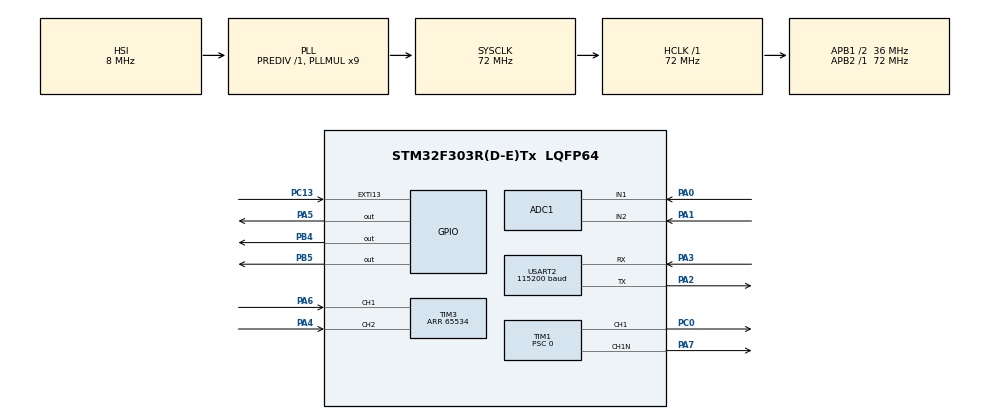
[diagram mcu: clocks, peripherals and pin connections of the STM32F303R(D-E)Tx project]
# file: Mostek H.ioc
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ADC1.Channel-2\#ChannelRegularConversion=ADC_CHANNEL_1
ADC1.Channel-3\#ChannelRegularConversion=ADC_CHANNEL_2
ADC1.ContinuousConvMode=DISABLE
ADC1.DMAContinuousRequests=ENABLE
ADC1.DiscontinuousConvMode=DISABLE
ADC1.EOCSelection=ADC_EOC_SEQ_CONV
ADC1.EnableInjectedConversion=DISABLE
ADC1.ExternalTrigConv=ADC_EXTERNALTRIGCONV_T4_TRGO
ADC1.NbrOfConversion=2
ADC1.NbrOfConversionFlag=1
ADC1.Offset-2\#ChannelRegularConversion=0
ADC1.Offset-3\#ChannelRegularConversion=0
ADC1.OffsetNumber-2\#ChannelRegularConversion=ADC_OFFSET_NONE
ADC1.OffsetNumber-3\#ChannelRegularConversion=ADC_OFFSET_NONE
ADC1.Rank-2\#ChannelRegularConversion=1
ADC1.Rank-3\#ChannelRegularConversion=2
ADC1.SamplingTime-2\#ChannelRegularConversion=ADC_SAMPLETIME_61CYCLES_5
ADC1.SamplingTime-3\#ChannelRegularConversion=ADC_SAMPLETIME_61CYCLES_5
ADC1.master=1
Dma.ADC1.0.Direction=DMA_PERIPH_TO_MEMORY
Dma.ADC1.0.Instance=DMA1_Channel1
Dma.ADC1.0.MemDataAlignment=DMA_MDATAALIGN_WORD
Dma.ADC1.0.MemInc=DMA_MINC_ENABLE
Dma.ADC1.0.Mode=DMA_CIRCULAR
Dma.ADC1.0.PeriphDataAlignment=DMA_PDATAALIGN_WORD
Dma.ADC1.0.PeriphInc=DMA_PINC_DISABLE
Dma.ADC1.0.Priority=DMA_PRIORITY_MEDIUM
Dma.Request0=ADC1
Dma.Request1=USART2_TX
Dma.USART2_TX.1.Direction=DMA_MEMORY_TO_PERIPH
Dma.USART2_TX.1.Instance=DMA1_Channel7
Dma.USART2_TX.1.MemDataAlignment=DMA_MDATAALIGN_BYTE
Dma.USART2_TX.1.MemInc=DMA_MINC_ENABLE
Dma.USART2_TX.1.Mode=DMA_NORMAL
Dma.USART2_TX.1.PeriphDataAlignment=DMA_PDATAALIGN_BYTE
Dma.USART2_TX.1.PeriphInc=DMA_PINC_DISABLE
Dma.USART2_TX.1.Priority=DMA_PRIORITY_LOW
FREERTOS.Tasks01=defaultTask,24,128,StartDefaultTask,Default,NULL,Dynamic,NULL,NULL;PIDTask,55,128,PidRunner_Entry,Default,NULL,Dynamic,NULL,NULL
FREERTOS.configTOTAL_HEAP_SIZE=4096
Mcu.Family=STM32F3
Mcu.Name=STM32F303R(D-E)Tx
Mcu.Package=LQFP64
NVIC.ADC1_2_IRQn=true\:5\:0\:true\:false\:true\:true\:true\:true
NVIC.DMA1_Channel1_IRQn=true\:5\:0\:false\:false\:true\:true\:false\:true
NVIC.DMA1_Channel7_IRQn=true\:5\:0\:false\:false\:true\:true\:false\:true
NVIC.EXTI15_10_IRQn=true\:6\:0\:true\:false\:true\:true\:true\:true
NVIC.PriorityGroup=NVIC_PRIORITYGROUP_4
NVIC.TIM1_TRG_COM_TIM17_IRQn=true\:0\:0\:false\:false\:true\:false\:false\:true
NVIC.TimeBase=TIM1_TRG_COM_TIM17_IRQn
NVIC.TimeBaseIP=TIM17
PA0.Mode=IN1-Single-Ended
PA0.Signal=ADC1_IN1
PA1.Mode=IN2-Single-Ended
PA1.Signal=ADC1_IN2
PA13.Mode=Trace_Asynchronous_SW
PA13.Signal=SYS_JTMS-SWDIO
PA14.Mode=Trace_Asynchronous_SW
PA14.Signal=SYS_JTCK-SWCLK
PA2.Mode=Asynchronous
PA2.Signal=USART2_TX
PA3.Mode=Asynchronous
PA3.Signal=USART2_RX
PA4.Signal=S_TIM3_CH2
PA5.PinState=GPIO_PIN_SET
PA5.Signal=GPIO_Output
PA6.Signal=S_TIM3_CH1
PA7.Mode=PWM Generation1 CH1 CH1N
PA7.Signal=TIM1_CH1N
PB3.Mode=Trace_Asynchronous_SW
PB3.Signal=SYS_JTDO-TRACESWO
PB4.Signal=GPIO_Output
PB5.Signal=GPIO_Output
PC0.Signal=S_TIM1_CH1
PC13.Signal=GPXTI13
PC14-OSC32_IN.Mode=LSE-External-Oscillator
PC14-OSC32_IN.Signal=RCC_OSC32_IN
PC15-OSC32_OUT.Mode=LSE-External-Oscillator
PC15-OSC32_OUT.Signal=RCC_OSC32_OUT
PF0-OSC_IN.Mode=HSE-External-Clock-Source
PF0-OSC_IN.Signal=RCC_OSC_IN
PF1-OSC_OUT.Signal=RCC_OSC_OUT
ProjectManager.HeapSize=0x200
ProjectManager.StackSize=0x400
ProjectManager.TargetToolchain=STM32CubeIDE
RCC.ADC12PRES=RCC_ADC12PLLCLK_DIV2
RCC.AHBFreq_Value=72000000
RCC.APB1CLKDivider=RCC_HCLK_DIV2
RCC.APB1Freq_Value=36000000
RCC.APB1TimFreq_Value=72000000
RCC.APB2Freq_Value=72000000
RCC.APB2TimFreq_Value=72000000
RCC.CortexFreq_Value=72000000
RCC.HCLKFreq_Value=72000000
RCC.HSE_VALUE=8000000
RCC.HSI_VALUE=8000000
RCC.PLLMUL=RCC_PLL_MUL9
RCC.RTCClockSelection=RCC_RTCCLKSOURCE_LSE
RCC.SYSCLKFreq_VALUE=72000000
RCC.SYSCLKSourceVirtual=RCC_SYSCLKSOURCE_PLLCLK
RCC.TIM1Selection=RCC_TIM1CLK_PLLCLK
RCC.TIM34Selection=RCC_TIM34CLK_PLLCLK
RCC.USBFreq_Value=72000000
SH.S_TIM1_CH1.0=TIM1_CH1,PWM Generation1 CH1 CH1N
SH.S_TIM3_CH1.0=TIM3_CH1,Encoder_Interface
SH.S_TIM3_CH2.0=TIM3_CH2,Encoder_Interface
TIM1.Channel-PWM\ Generation1\ CH1\ CH1N=TIM_CHANNEL_1
TIM1.CounterMode=TIM_COUNTERMODE_UP
TIM1.DeadTime=50
TIM1.OCNPolarity_1=TIM_OCNPOLARITY_HIGH
TIM1.OCPolarity_1=TIM_OCPOLARITY_HIGH
TIM1.Period=14399
TIM1.Prescaler=0
TIM1.TIM_MasterOutputTrigger=TIM_TRGO_UPDATE
TIM3.EncoderMode=TIM_ENCODERMODE_TI12
TIM3.Period=65534
TIM4.Period=1799
TIM4.TIM_MasterOutputTrigger=TIM_TRGO_UPDATE
TIM4.TIM_MasterSlaveMode=TIM_MASTERSLAVEMODE_ENABLE
USART2.BaudRate=115200
USART2.VirtualMode-Asynchronous=VM_ASYNC
VP_FREERTOS_VS_CMSIS_V2.Mode=CMSIS_V2
VP_SYS_VS_tim17.Mode=TIM17
VP_TIM4_VS_ClockSourceITR.Mode=TriggerSource_ITR0
VP_TIM4_VS_ControllerModeTrigger.Mode=Trigger Mode
board=NUCLEO-F303RE

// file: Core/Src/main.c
/* USER CODE BEGIN Header */
/**
  ******************************************************************************
  * @file           : main.c
  * @brief          : Main program body
  ******************************************************************************
  * @attention
  *
  * <h2><center>&copy; Copyright (c) 2019 STMicroelectronics.
  * All rights reserved.</center></h2>
  *
  * This software component is licensed by ST under BSD 3-Clause license,
  * the "License"; You may not use this file except in compliance with the
  * License. You may obtain a copy of the License at:
  *                        opensource.org/licenses/BSD-3-Clause
  *
  ******************************************************************************
  */
/* USER CODE END Header */
#include "main.h"
#include "cmsis_os.h"

/* USER CODE BEGIN Includes */
#include "arm_math.h"
#include "stdio.h"
#include "stdlib.h"
#include "string.h"
#include "pid.h"
/* USER CODE END Includes */

/* USER CODE BEGIN PD */
#define N 8
#define MAX_SPEED 420.0
#define RAMP_STEP 0.002
/* USER CODE END PD */

ADC_HandleTypeDef hadc1;
DMA_HandleTypeDef hdma_adc1;

TIM_HandleTypeDef htim1;
TIM_HandleTypeDef htim3;
TIM_HandleTypeDef htim4;

UART_HandleTypeDef huart2;
DMA_HandleTypeDef hdma_usart2_tx;

/* Definitions for defaultTask */
osThreadId_t defaultTaskHandle;
const osThreadAttr_t defaultTask_attributes = {
  .name = "defaultTask",
  .priority = (osPriority_t) osPriorityNormal,
  .stack_size = 128 * 4
};
/* Definitions for PIDTask */
osThreadId_t PIDTaskHandle;
const osThreadAttr_t PIDTask_attributes = {
  .name = "PIDTask",
  .priority = (osPriority_t) osPriorityRealtime7,
  .stack_size = 128 * 4
};
/* USER CODE BEGIN PV */
volatile uint32_t 		raw_adc_values[2];
volatile uint32_t 		values[N];
volatile uint32_t 		average_values[10];
volatile uint16_t 		position_diff;
volatile uint32_t 		movingAverage;
volatile uint32_t 		movingAverageSum;
volatile uint32_t 		zero_current;
volatile int16_t 		speed_raw;
volatile int8_t 		rev = 1;
volatile uint8_t 		cycle = 0;
volatile uint8_t 		samples = 0;
uint8_t 				cyclespeed = 0;
uint8_t 				run = 0;
uint8_t 				control_loop = 2;
uint8_t 				last_control_loop = 0;

float ref_normalized;
float ref_ramp;
float speed;

PID_t current_regulator;
PID_t speed_regulator;
/* USER CODE END PV */

void SystemClock_Config(void);
static void MX_GPIO_Init(void);
static void MX_DMA_Init(void);
static void MX_ADC1_Init(void);
static void MX_TIM1_Init(void);
static void MX_TIM4_Init(void);
static void MX_TIM3_Init(void);
static void MX_USART2_UART_Init(void);
void StartDefaultTask(void *argument);
void PidRunner_Entry(void *argument);

int main(void)
{

  /* MCU Configuration--------------------------------------------------------*/

  /* Reset of all peripherals, Initializes the Flash interface and the Systick. */
  HAL_Init();

  /* Configure the system clock */
  SystemClock_Config();

  /* Initialize all configured peripherals */
  MX_GPIO_Init();
  MX_DMA_Init();
  MX_ADC1_Init();
  MX_TIM1_Init();
  MX_TIM4_Init();
  MX_TIM3_Init();
  MX_USART2_UART_Init();
  /* USER CODE BEGIN 2 */
  HAL_TIM_PWM_Init(&htim1);
  HAL_TIM_PWM_Start(&htim1, TIM_CHANNEL_1);
  HAL_TIMEx_PWMN_Start(&htim1, TIM_CHANNEL_1);
  TIM1 -> CCR1 = 7200;
  HAL_TIM_Encoder_Start(&htim3, TIM_CHANNEL_ALL);

  HAL_ADC_Start_DMA(&hadc1, &raw_adc_values[0], 2);

  while(cycle < N){
	  HAL_GPIO_WritePin(GPIOA, GPIO_PIN_5, GPIO_PIN_SET);
  }
  cycle = 0;
  movingAverageSum = 0;
  for(uint8_t i = 0; i < N; i++){
  	movingAverageSum += values[i];
  }
  movingAverage = movingAverageSum / N;
  zero_current = movingAverage;

  PID_Init(&speed_regulator, 3.8, 2.0, 7.0, 0.005, 3.0, -2048.0, 2048.0, 0.0, 0.0);

  PID_Init(&current_regulator, 2.5, 2.0, 7.0, 0.001, 10.0, 720.0, 13680.0, 7200.0, (float)zero_current);
  current_regulator.input_raw = (float)zero_current;

  PID_TurnOn(&current_regulator);
  PID_TurnOn(&speed_regulator);

  HAL_GPIO_WritePin(GPIOA, GPIO_PIN_5, GPIO_PIN_RESET);
  /* USER CODE END 2 */

  /* Init scheduler */
  osKernelInitialize();

  /* Create the thread(s) */
  /* creation of defaultTask */
  defaultTaskHandle = osThreadNew(StartDefaultTask, NULL, &defaultTask_attributes);

  /* creation of PIDTask */
  PIDTaskHandle = osThreadNew(PidRunner_Entry, NULL, &PIDTask_attributes);

  /* Start scheduler */
  osKernelStart();

  /* We should never get here as control is now taken by the scheduler */
  /* Infinite loop */
  /* USER CODE BEGIN WHILE */
  while (1)
  {
	  if(cycle >= N){
		  cycle = 0;
		  movingAverageSum = 0;
		  for(uint8_t i = 0; i < N; i++){
			  movingAverageSum += values[i];
		  }
		  average_values[samples] = movingAverageSum / N;
		  //arm_rms_f32(&values, N, &average_values[samples]);
		  samples++;
	  }

	  if(samples == 10){
		  samples = 0;
		  movingAverageSum = 0;
		  for(uint8_t i = 0; i < 10; i++){
		  	movingAverageSum += average_values[i];
		  }
		  current_regulator.input_raw = ((float)movingAverageSum) / 10.0;
		  if(run) ref_normalized = ((float)(raw_adc_values[1] >> 1) * rev)/2048.0;
		  else ref_normalized = 0.0;
	  }

    /* USER CODE END WHILE */

  }
}

void SystemClock_Config(void)
{
  RCC_OscInitTypeDef RCC_OscInitStruct = {0};
  RCC_ClkInitTypeDef RCC_ClkInitStruct = {0};
  RCC_PeriphCLKInitTypeDef PeriphClkInit = {0};

  /** Initializes the RCC Oscillators according to the specified parameters
  * in the RCC_OscInitTypeDef structure.
  */
  RCC_OscInitStruct.OscillatorType = RCC_OSCILLATORTYPE_HSI;
  RCC_OscInitStruct.HSIState = RCC_HSI_ON;
  RCC_OscInitStruct.HSICalibrationValue = RCC_HSICALIBRATION_DEFAULT;
  RCC_OscInitStruct.PLL.PLLState = RCC_PLL_ON;
  RCC_OscInitStruct.PLL.PLLSource = RCC_PLLSOURCE_HSI;
  RCC_OscInitStruct.PLL.PLLMUL = RCC_PLL_MUL9;
  RCC_OscInitStruct.PLL.PREDIV = RCC_PREDIV_DIV1;
  if (HAL_RCC_OscConfig(&RCC_OscInitStruct) != HAL_OK)
  {
    Error_Handler();
  }
  /** Initializes the CPU, AHB and APB buses clocks
  */
  RCC_ClkInitStruct.ClockType = RCC_CLOCKTYPE_HCLK|RCC_CLOCKTYPE_SYSCLK
                              |RCC_CLOCKTYPE_PCLK1|RCC_CLOCKTYPE_PCLK2;
  RCC_ClkInitStruct.SYSCLKSource = RCC_SYSCLKSOURCE_PLLCLK;
  RCC_ClkInitStruct.AHBCLKDivider = RCC_SYSCLK_DIV1;
  RCC_ClkInitStruct.APB1CLKDivider = RCC_HCLK_DIV2;
  RCC_ClkInitStruct.APB2CLKDivider = RCC_HCLK_DIV1;

  if (HAL_RCC_ClockConfig(&RCC_ClkInitStruct, FLASH_LATENCY_2) != HAL_OK)
  {
    Error_Handler();
  }
  PeriphClkInit.PeriphClockSelection = RCC_PERIPHCLK_USART2|RCC_PERIPHCLK_TIM1
                              |RCC_PERIPHCLK_ADC12|RCC_PERIPHCLK_TIM34;
  PeriphClkInit.Usart2ClockSelection = RCC_USART2CLKSOURCE_PCLK1;
  PeriphClkInit.Adc12ClockSelection = RCC_ADC12PLLCLK_DIV2;
  PeriphClkInit.Tim1ClockSelection = RCC_TIM1CLK_PLLCLK;
  PeriphClkInit.Tim34ClockSelection = RCC_TIM34CLK_PLLCLK;
  if (HAL_RCCEx_PeriphCLKConfig(&PeriphClkInit) != HAL_OK)
  {
    Error_Handler();
  }
}

static void MX_ADC1_Init(void)
{

  ADC_MultiModeTypeDef multimode = {0};
  ADC_ChannelConfTypeDef sConfig = {0};

  /** Common config
  */
  hadc1.Instance = ADC1;
  hadc1.Init.ClockPrescaler = ADC_CLOCK_ASYNC_DIV1;
  hadc1.Init.Resolution = ADC_RESOLUTION_12B;
  hadc1.Init.ScanConvMode = ADC_SCAN_ENABLE;
  hadc1.Init.ContinuousConvMode = DISABLE;
  hadc1.Init.DiscontinuousConvMode = DISABLE;
  hadc1.Init.ExternalTrigConvEdge = ADC_EXTERNALTRIGCONVEDGE_RISING;
  hadc1.Init.ExternalTrigConv = ADC_EXTERNALTRIGCONV_T4_TRGO;
  hadc1.Init.DataAlign = ADC_DATAALIGN_RIGHT;
  hadc1.Init.NbrOfConversion = 2;
  hadc1.Init.DMAContinuousRequests = ENABLE;
  hadc1.Init.EOCSelection = ADC_EOC_SEQ_CONV;
  hadc1.Init.LowPowerAutoWait = DISABLE;
  hadc1.Init.Overrun = ADC_OVR_DATA_OVERWRITTEN;
  if (HAL_ADC_Init(&hadc1) != HAL_OK)
  {
    Error_Handler();
  }
  /** Configure the ADC multi-mode
  */
  multimode.Mode = ADC_MODE_INDEPENDENT;
  if (HAL_ADCEx_MultiModeConfigChannel(&hadc1, &multimode) != HAL_OK)
  {
    Error_Handler();
  }
  /** Configure Regular Channel
  */
  sConfig.Channel = ADC_CHANNEL_1;
  sConfig.Rank = ADC_REGULAR_RANK_1;
  sConfig.SingleDiff = ADC_SINGLE_ENDED;
  sConfig.SamplingTime = ADC_SAMPLETIME_61CYCLES_5;
  sConfig.OffsetNumber = ADC_OFFSET_NONE;
  sConfig.Offset = 0;
  if (HAL_ADC_ConfigChannel(&hadc1, &sConfig) != HAL_OK)
  {
    Error_Handler();
  }
  /** Configure Regular Channel
  */
  sConfig.Channel = ADC_CHANNEL_2;
  sConfig.Rank = ADC_REGULAR_RANK_2;
  if (HAL_ADC_ConfigChannel(&hadc1, &sConfig) != HAL_OK)
  {
    Error_Handler();
  }

}

static void MX_TIM1_Init(void)
{

  TIM_MasterConfigTypeDef sMasterConfig = {0};
  TIM_OC_InitTypeDef sConfigOC = {0};
  TIM_BreakDeadTimeConfigTypeDef sBreakDeadTimeConfig = {0};

  htim1.Instance = TIM1;
  htim1.Init.Prescaler = 0;
  htim1.Init.CounterMode = TIM_COUNTERMODE_UP;
  htim1.Init.Period = 14399;
  htim1.Init.ClockDivision = TIM_CLOCKDIVISION_DIV1;
  htim1.Init.RepetitionCounter = 0;
  htim1.Init.AutoReloadPreload = TIM_AUTORELOAD_PRELOAD_DISABLE;
  if (HAL_TIM_PWM_Init(&htim1) != HAL_OK)
  {
    Error_Handler();
  }
  sMasterConfig.MasterOutputTrigger = TIM_TRGO_UPDATE;
  sMasterConfig.MasterOutputTrigger2 = TIM_TRGO2_RESET;
  sMasterConfig.MasterSlaveMode = TIM_MASTERSLAVEMODE_DISABLE;
  if (HAL_TIMEx_MasterConfigSynchronization(&htim1, &sMasterConfig) != HAL_OK)
  {
    Error_Handler();
  }
  sConfigOC.OCMode = TIM_OCMODE_PWM1;
  sConfigOC.Pulse = 0;
  sConfigOC.OCPolarity = TIM_OCPOLARITY_HIGH;
  sConfigOC.OCNPolarity = TIM_OCNPOLARITY_HIGH;
  sConfigOC.OCFastMode = TIM_OCFAST_DISABLE;
  sConfigOC.OCIdleState = TIM_OCIDLESTATE_RESET;
  sConfigOC.OCNIdleState = TIM_OCNIDLESTATE_RESET;
  if (HAL_TIM_PWM_ConfigChannel(&htim1, &sConfigOC, TIM_CHANNEL_1) != HAL_OK)
  {
    Error_Handler();
  }
  sBreakDeadTimeConfig.OffStateRunMode = TIM_OSSR_DISABLE;
  sBreakDeadTimeConfig.OffStateIDLEMode = TIM_OSSI_DISABLE;
  sBreakDeadTimeConfig.LockLevel = TIM_LOCKLEVEL_OFF;
  sBreakDeadTimeConfig.DeadTime = 50;
  sBreakDeadTimeConfig.BreakState = TIM_BREAK_DISABLE;
  sBreakDeadTimeConfig.BreakPolarity = TIM_BREAKPOLARITY_HIGH;
  sBreakDeadTimeConfig.BreakFilter = 0;
  sBreakDeadTimeConfig.Break2State = TIM_BREAK2_DISABLE;
  sBreakDeadTimeConfig.Break2Polarity = TIM_BREAK2POLARITY_HIGH;
  sBreakDeadTimeConfig.Break2Filter = 0;
  sBreakDeadTimeConfig.AutomaticOutput = TIM_AUTOMATICOUTPUT_DISABLE;
  if (HAL_TIMEx_ConfigBreakDeadTime(&htim1, &sBreakDeadTimeConfig) != HAL_OK)
  {
    Error_Handler();
  }
  HAL_TIM_MspPostInit(&htim1);

}

static void MX_TIM3_Init(void)
{

  TIM_Encoder_InitTypeDef sConfig = {0};
  TIM_MasterConfigTypeDef sMasterConfig = {0};

  htim3.Instance = TIM3;
  htim3.Init.Prescaler = 0;
  htim3.Init.CounterMode = TIM_COUNTERMODE_UP;
  htim3.Init.Period = 65534;
  htim3.Init.ClockDivision = TIM_CLOCKDIVISION_DIV1;
  htim3.Init.AutoReloadPreload = TIM_AUTORELOAD_PRELOAD_DISABLE;
  sConfig.EncoderMode = TIM_ENCODERMODE_TI12;
  sConfig.IC1Polarity = TIM_ICPOLARITY_RISING;
  sConfig.IC1Selection = TIM_ICSELECTION_DIRECTTI;
  sConfig.IC1Prescaler = TIM_ICPSC_DIV1;
  sConfig.IC1Filter = 0;
  sConfig.IC2Polarity = TIM_ICPOLARITY_RISING;
  sConfig.IC2Selection = TIM_ICSELECTION_DIRECTTI;
  sConfig.IC2Prescaler = TIM_ICPSC_DIV1;
  sConfig.IC2Filter = 0;
  if (HAL_TIM_Encoder_Init(&htim3, &sConfig) != HAL_OK)
  {
    Error_Handler();
  }
  sMasterConfig.MasterOutputTrigger = TIM_TRGO_RESET;
  sMasterConfig.MasterSlaveMode = TIM_MASTERSLAVEMODE_DISABLE;
  if (HAL_TIMEx_MasterConfigSynchronization(&htim3, &sMasterConfig) != HAL_OK)
  {
    Error_Handler();
  }

}

static void MX_TIM4_Init(void)
{

  TIM_SlaveConfigTypeDef sSlaveConfig = {0};
  TIM_MasterConfigTypeDef sMasterConfig = {0};

  htim4.Instance = TIM4;
  htim4.Init.Prescaler = 0;
  htim4.Init.CounterMode = TIM_COUNTERMODE_UP;
  htim4.Init.Period = 1799;
  htim4.Init.ClockDivision = TIM_CLOCKDIVISION_DIV1;
  htim4.Init.AutoReloadPreload = TIM_AUTORELOAD_PRELOAD_DISABLE;
  if (HAL_TIM_Base_Init(&htim4) != HAL_OK)
  {
    Error_Handler();
  }
  sSlaveConfig.SlaveMode = TIM_SLAVEMODE_TRIGGER;
  sSlaveConfig.InputTrigger = TIM_TS_ITR0;
  if (HAL_TIM_SlaveConfigSynchro(&htim4, &sSlaveConfig) != HAL_OK)
  {
    Error_Handler();
  }
  sMasterConfig.MasterOutputTrigger = TIM_TRGO_UPDATE;
  sMasterConfig.MasterSlaveMode = TIM_MASTERSLAVEMODE_ENABLE;
  if (HAL_TIMEx_MasterConfigSynchronization(&htim4, &sMasterConfig) != HAL_OK)
  {
    Error_Handler();
  }

}

static void MX_USART2_UART_Init(void)
{

  huart2.Instance = USART2;
  huart2.Init.BaudRate = 115200;
  huart2.Init.WordLength = UART_WORDLENGTH_8B;
  huart2.Init.StopBits = UART_STOPBITS_1;
  huart2.Init.Parity = UART_PARITY_NONE;
  huart2.Init.Mode = UART_MODE_TX_RX;
  huart2.Init.HwFlowCtl = UART_HWCONTROL_NONE;
  huart2.Init.OverSampling = UART_OVERSAMPLING_16;
  huart2.Init.OneBitSampling = UART_ONE_BIT_SAMPLE_DISABLE;
  huart2.AdvancedInit.AdvFeatureInit = UART_ADVFEATURE_NO_INIT;
  if (HAL_UART_Init(&huart2) != HAL_OK)
  {
    Error_Handler();
  }

}

static void MX_DMA_Init(void)
{

  /* DMA controller clock enable */
  __HAL_RCC_DMA1_CLK_ENABLE();

  /* DMA interrupt init */
  /* DMA1_Channel1_IRQn interrupt configuration */
  HAL_NVIC_SetPriority(DMA1_Channel1_IRQn, 5, 0);
  HAL_NVIC_EnableIRQ(DMA1_Channel1_IRQn);
  /* DMA1_Channel7_IRQn interrupt configuration */
  HAL_NVIC_SetPriority(DMA1_Channel7_IRQn, 5, 0);
  HAL_NVIC_EnableIRQ(DMA1_Channel7_IRQn);

}

static void MX_GPIO_Init(void)
{
  GPIO_InitTypeDef GPIO_InitStruct = {0};

  /* GPIO Ports Clock Enable */
  __HAL_RCC_GPIOC_CLK_ENABLE();
  __HAL_RCC_GPIOF_CLK_ENABLE();
  __HAL_RCC_GPIOA_CLK_ENABLE();
  __HAL_RCC_GPIOB_CLK_ENABLE();

  /*Configure GPIO pin Output Level */
  HAL_GPIO_WritePin(GPIOA, GPIO_PIN_5, GPIO_PIN_SET);

  /*Configure GPIO pin Output Level */
  HAL_GPIO_WritePin(GPIOB, GPIO_PIN_4|GPIO_PIN_5, GPIO_PIN_RESET);

  /*Configure GPIO pin : PC13 */
  GPIO_InitStruct.Pin = GPIO_PIN_13;
  GPIO_InitStruct.Mode = GPIO_MODE_IT_RISING;
  GPIO_InitStruct.Pull = GPIO_NOPULL;
  HAL_GPIO_Init(GPIOC, &GPIO_InitStruct);

  /*Configure GPIO pin : PA5 */
  GPIO_InitStruct.Pin = GPIO_PIN_5;
  GPIO_InitStruct.Mode = GPIO_MODE_OUTPUT_PP;
  GPIO_InitStruct.Pull = GPIO_NOPULL;
  GPIO_InitStruct.Speed = GPIO_SPEED_FREQ_LOW;
  HAL_GPIO_Init(GPIOA, &GPIO_InitStruct);

  /*Configure GPIO pins : PB4 PB5 */
  GPIO_InitStruct.Pin = GPIO_PIN_4|GPIO_PIN_5;
  GPIO_InitStruct.Mode = GPIO_MODE_OUTPUT_PP;
  GPIO_InitStruct.Pull = GPIO_NOPULL;
  GPIO_InitStruct.Speed = GPIO_SPEED_FREQ_LOW;
  HAL_GPIO_Init(GPIOB, &GPIO_InitStruct);

  /* EXTI interrupt init*/
  HAL_NVIC_SetPriority(EXTI15_10_IRQn, 6, 0);
  HAL_NVIC_EnableIRQ(EXTI15_10_IRQn);

}

/* USER CODE BEGIN 4 */
void HAL_GPIO_EXTI_Callback (uint16_t GPIO_Pin){
	//rev *= -1;
	run = !run;
}

void HAL_ADC_ConvCpltCallback (ADC_HandleTypeDef* hadc){
	values[cycle] = raw_adc_values[0];
	cycle++;
}

void HAL_SYSTICK_Callback (void){

}

/* USER CODE END 4 */

void StartDefaultTask(void *argument)
{
  /* USER CODE BEGIN 5 */
	uint32_t notVal;
  /* Infinite loop */
  for(;;)
  {
    xTaskNotifyWait(0, 0, notVal, osWaitForever);

  }
  /* USER CODE END 5 */
}

void PidRunner_Entry(void *argument)
{
  /* USER CODE BEGIN PidRunner_Entry */
  /* Infinite loop */
  for(;;)
  {
	  cyclespeed++;
	  	samples = 0;

	  	if(control_loop == 1){
	  		current_regulator.reference = ref_ramp * 2048.0;
	  	}

	  	if(cyclespeed == 10){
	  		if(ref_normalized - ref_ramp > RAMP_STEP) ref_ramp += RAMP_STEP;
	  		else if(ref_normalized - ref_ramp < -RAMP_STEP) ref_ramp -= RAMP_STEP;
	  		else ref_ramp = ref_normalized;
	  		cyclespeed = 0;
	  		speed_raw = htim3.Instance->CNT - position_diff;
	  		position_diff = htim3.Instance->CNT;
	  		speed = ((float)speed_raw)/8000.0 * 6000.0;
	  		speed_regulator.input_raw = speed;
	  		if(!ref_ramp) HAL_GPIO_WritePin(GPIOA, GPIO_PIN_5, GPIO_PIN_RESET);
	  		else{
	  			if(!speed_raw){
	  				HAL_GPIO_WritePin(GPIOA, GPIO_PIN_5, GPIO_PIN_SET);
	  				current_regulator.I = 0.0;
	  				speed_regulator.I = 0.0;
	  			}
	  		}
	  		if(control_loop == 2){
	  			speed_regulator.reference = ref_ramp * MAX_SPEED;
	  			current_regulator.reference = speed_regulator.output;
	  		}
	  		PID_Controller(&speed_regulator);
	  	}

	  	PID_Controller(&current_regulator);

	  	if(control_loop){
	  		TIM1 -> CCR1 = (uint32_t)current_regulator.output;
	  	}else{
	  		TIM1 -> CCR1 = (uint32_t)(7200.0 + ref_ramp * 6480.0);
	  	}

	  	if((control_loop == 0) && (last_control_loop != control_loop)){
	  		PID_TurnOff(&speed_regulator);
	  		PID_TurnOff(&current_regulator);
	  	}else if((control_loop == 1) && (control_loop != last_control_loop)){
	  		PID_TurnOn(&current_regulator);
	  		PID_TurnOff(&speed_regulator);
	  	}else if((control_loop == 2) && (last_control_loop != control_loop)){
	  		PID_TurnOn(&speed_regulator);
	  		PID_TurnOn(&current_regulator);
	  	}
	  	last_control_loop = control_loop;
	  	osDelay(1);
  }
  /* USER CODE END PidRunner_Entry */
}

void HAL_TIM_PeriodElapsedCallback(TIM_HandleTypeDef *htim)
{
  if (htim->Instance == TIM17) {
    HAL_IncTick();
  }
}

void Error_Handler(void)
{
}

/************************ (C) COPYRIGHT STMicroelectronics *****END OF FILE****/
